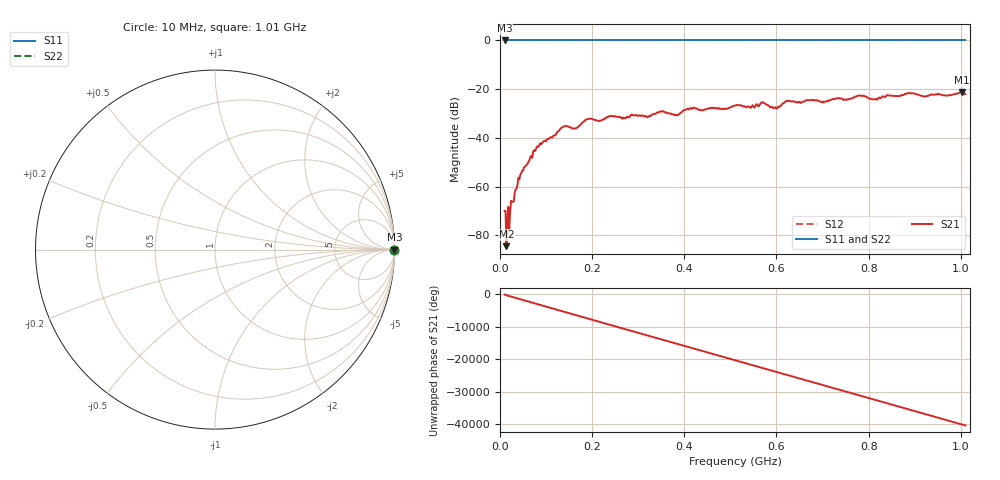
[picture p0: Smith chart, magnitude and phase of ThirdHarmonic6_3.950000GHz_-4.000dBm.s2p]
! 8/17/2025 2:00:03 PM
! C:\ANRITSUVNA\TEMP\TEMP.S2P
! CHANNEL.1
! TR.MEASUREMENT
! RAW.DATA
! RF.CORRECTION.OFF
! AVERAGING.OFF
! IF.BANDWIDTH: 5KHZ
! SWEEPTYPE:  FREQ.SWEEP(Linear)
! Reference Plane Port Info
! PORT:  PORT1  PORT2
! DISTANCE:  0  m  0  m
! TIME:  0  s  0  s
! PHASE.OFFSET:  0  deg.  0  deg.
! LOSS:  0  dB  0  dB
! REF.LOSS:  0  dB  0  dB
! REF.FREQ:  0  Hz  0  Hz
! Power Info
! POWER:  -20  dBm  -20  dBm
! EFF.POWER:  -20  dBm  -20  dBm
! SOURCE.ATTEN:  0  dB  0  dB
! TEST.ATTEN:  0  dB  0  dB
# GHZ S RI R 50.0
! FREQ.GHZ  S11RE  S11IM  S21RE  S21IM  S12RE  S12IM  S22RE  S22IM
!; PortSelection: Port_12
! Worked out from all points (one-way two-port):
!   501 points, 10 MHz to 1.01 GHz, reference 50 ohm
!   highest |S21| = -21.29 dB at 1.002 GHz (marker M1); lowest = -84.4 dB at 14 MHz (marker M2)
!   lowest |S11| = 0.0 dB at 10 MHz (marker M3)
!   |S11| at or under -10 dB: nowhere
!   |S22| runs from 0.0 to 0.0 dB; largest |S21 - S12| = 1.1
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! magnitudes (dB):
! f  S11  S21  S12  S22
! 10 MHz  0.0  -70.0  0.0  0.0
! 14 MHz  0.0  -84.4  0.0  0.0
! 18 MHz  0.0  -68.3  0.0  0.0
! 22 MHz  0.0  -70.2  0.0  0.0
! 44 MHz  0.0  -55.1  0.0  0.0
! 76 MHz  0.0  -45.3  0.0  0.0
! 136 MHz  0.0  -35.6  0.0  0.0
! 162 MHz  0.0  -36.1  0.0  0.0
! 178 MHz  0.0  -33.8  0.0  0.0
! 194 MHz  0.0  -32.1  0.0  0.0
! 322 MHz  0.0  -31.3  0.0  0.0
! 344 MHz  0.0  -29.6  0.0  0.0
! 384 MHz  0.0  -30.6  0.0  0.0
! 418 MHz  0.0  -28.0  0.0  0.0
! 510 MHz  0.0  -26.7  0.0  0.0
! 570 MHz  0.0  -25.3  0.0  0.0
! 598 MHz  0.0  -27.5  0.0  0.0
! 622 MHz  0.0  -25.0  0.0  0.0
! 678 MHz  0.0  -24.4  0.0  0.0
! 844 MHz  0.0  -22.5  0.0  0.0
! 1.002 GHz  0.0  -21.3  0.0  0.0
! 1.01 GHz  0.0  -22.0  0.0  0.0
